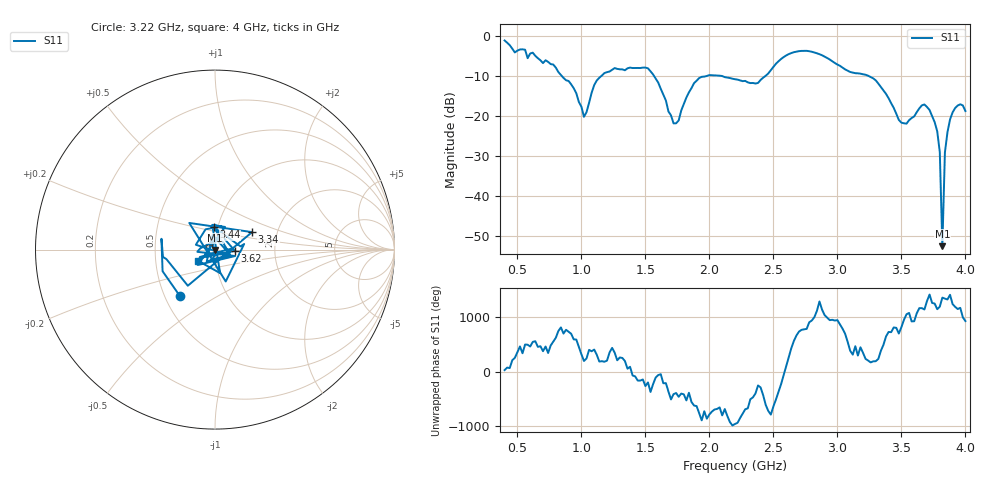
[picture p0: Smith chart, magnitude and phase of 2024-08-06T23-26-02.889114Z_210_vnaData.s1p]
!Created with skrf (http://scikit-rf.org).
# Hz S RI R 50.0
!freq ReS11 ImS11
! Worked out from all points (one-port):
!   181 points, 400 MHz to 4 GHz, reference 50 ohm
!   lowest |S11| = -52.6 dB at 3.82 GHz (marker M1), VSWR 1.00, Z = 50.1 - j0.226 ohm
!   |S11| at or under -10 dB: 1.566 GHz to 1.986 GHz (420.1 MHz wide, 23.6 % of centre); 2.081 GHz to 2.441 GHz (360.2 MHz wide, 15.9 % of centre); 3.239 GHz to end of sweep (the widest 3 of 4)
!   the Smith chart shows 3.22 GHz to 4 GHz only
!   S11 on the Smith chart (normalised r, x): 3.22 GHz: 0.60, -0.35; 3.34 GHz: 1.48, +0.30; 3.44 GHz: 0.95, +0.24; 3.62 GHz: 1.25, -0.02; 4 GHz: 0.82, -0.10
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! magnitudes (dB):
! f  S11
! 400 MHz  -1.2
! 860 MHz  -10.5
! 940 MHz  -13.1
! 1.02 GHz  -20.3
! 1.12 GHz  -11.2
! 1.3 GHz  -8.4
! 1.52 GHz  -8.2
! 1.72 GHz  -21.9
! 1.76 GHz  -21.2
! 1.92 GHz  -10.6
! 2.2 GHz  -10.9
! 2.38 GHz  -11.8
! 2.66 GHz  -4.1
! 3.1 GHz  -9.1
! 3.22 GHz  -9.8
! 3.34 GHz  -12.8
! 3.44 GHz  -18.0
! 3.5 GHz  -21.7
! 3.56 GHz  -21.1
! 3.62 GHz  -19.1
! 3.68 GHz  -17.2
! 3.78 GHz  -23.9
! 3.8 GHz  -29.1
! 3.82 GHz  -52.6
! 3.84 GHz  -29.2
! 3.86 GHz  -24.1
! 3.92 GHz  -18.1
! 4 GHz  -18.8
